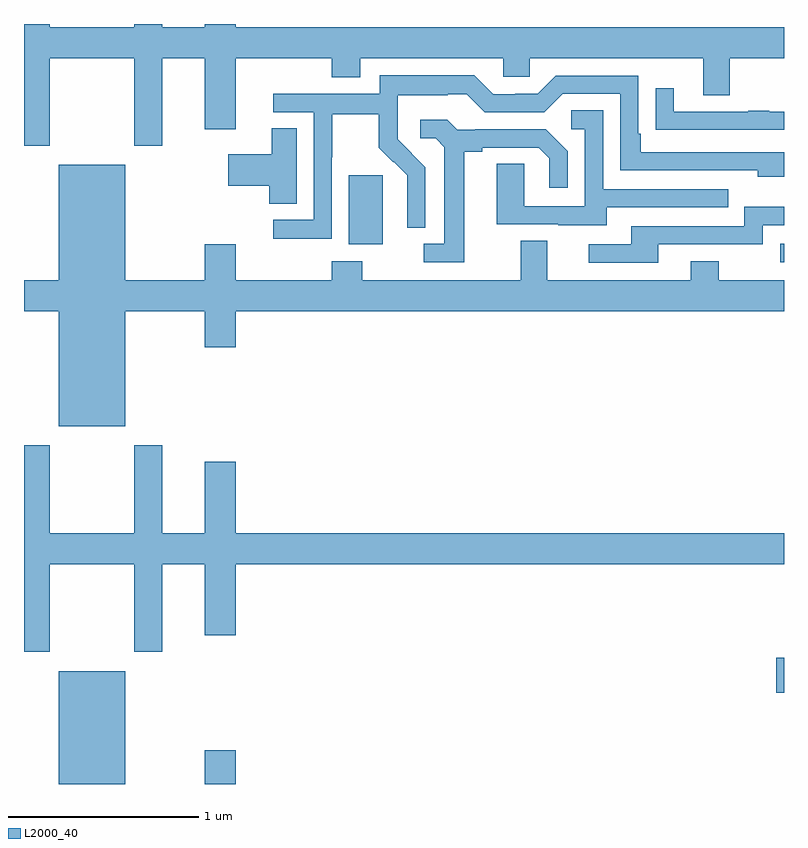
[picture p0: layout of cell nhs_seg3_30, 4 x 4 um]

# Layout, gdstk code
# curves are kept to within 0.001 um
import gdstk
lib = gdstk.Library(unit=1e-6, precision=1e-09)
def R(c, l, rs):  # rectangles x0, y0, x1, y1
    for r in rs: c.add(gdstk.rectangle(r[:2], r[2:], *l))
def P(c, l, *ps):  # polygons
    for p in ps: c.add(gdstk.Polygon(p, *l))
L2000_40 = (2000, 40)

nhs_seg3_30 = lib.new_cell('nhs_seg3_30')
R(nhs_seg3_30, L2000_40, [(111.182,726.4,111.532,726.994), (111.95,726.4,112.114,726.577), (114.96,726.881,115,727.064), (114.981,729.147,115,729.243), (112.709,729.242,112.888,729.603)])
P(nhs_seg3_30, L2000_40, [(111.135,730.22),(111.58,730.22),(111.58,729.759),(111.727,729.759),(111.727,730.22),(111.95,730.22),(111.95,729.846),(112.114,729.846),(112.114,730.22),(112.619,730.22),(112.619,730.121),(112.771,730.121),(112.771,730.22),(113.523,730.22),(113.523,730.122),(113.661,730.122),(113.661,730.22),(114.575,730.22),(114.575,730.026),(114.715,730.026),(114.715,730.22),(115,730.22),(115,730.384),(112.114,730.384),(112.114,730.4),(111.95,730.4),(111.95,730.384),(111.727,730.384),(111.727,730.4),(111.58,730.4),(111.58,730.384),(111.135,730.384),(111.135,730.4),(111,730.4),(111,729.759),(111.135,729.759)],
  [(112.62,729.7),(112.623,729.7),(112.623,729.924),(112.867,729.924),(112.867,729.749),(112.944,729.672),(112.947,729.675),(113.018,729.605),(113.018,729.482),(113.016,729.482),(113.016,729.328),(113.112,729.328),(113.112,729.646),(112.966,729.794),(112.966,729.891),(112.968,729.891),(112.968,730.025),(113.231,730.025),(113.231,730.029),(113.331,730.029),(113.424,729.936),(113.739,729.936),(113.835,730.032),(114.138,730.032),(114.138,729.63),(114.863,729.63),(114.863,729.596),(115,729.596),(115,729.726),(114.247,729.726),(114.247,729.823),(114.234,729.823),(114.234,730.128),(113.799,730.128),(113.703,730.032),(113.585,730.032),(113.585,730.029),(113.469,730.029),(113.369,730.129),(112.872,730.129),(112.872,730.032),(112.311,730.032),(112.311,729.936),(112.524,729.936),(112.524,729.369),(112.311,729.369),(112.311,729.271),(112.62,729.271)],
  [(115,729.939),(114.923,729.939),(114.923,729.944),(114.811,729.944),(114.811,729.939),(114.421,729.939),(114.421,730.063),(114.325,730.063),(114.325,729.844),(114.427,729.844),(114.427,729.843),(115,729.843)],
  [(114.067,729.435),(114.707,729.435),(114.707,729.531),(114.048,729.531),(114.048,729.947),(113.88,729.947),(113.88,729.846),(113.952,729.846),(113.952,729.441),(113.634,729.441),(113.634,729.665),(113.489,729.665),(113.489,729.345),(113.813,729.345),(113.813,729.341),(114.067,729.341)],
  [(113.317,729.728),(113.413,729.728),(113.413,729.75),(113.708,729.75),(113.765,729.693),(113.765,729.537),(113.862,729.537),(113.862,729.73),(113.746,729.846),(113.374,729.846),(113.374,729.843),(113.28,729.843),(113.228,729.895),(113.085,729.895),(113.085,729.798),(113.166,729.798),(113.213,729.751),(113.213,729.243),(113.103,729.243),(113.103,729.147),(113.317,729.147)],
  [(112.435,729.851),(112.304,729.851),(112.304,729.715),(112.074,729.715),(112.074,729.55),(112.292,729.55),(112.292,729.454),(112.435,729.454)],
  [(111.532,728.888),(111.95,728.888),(111.95,728.7),(112.114,728.7),(112.114,728.888),(115,728.888),(115,729.052),(114.657,729.052),(114.657,729.151),(114.509,729.151),(114.509,729.052),(113.755,729.052),(113.755,729.26),(113.615,729.26),(113.615,729.052),(112.779,729.052),(112.779,729.151),(112.619,729.151),(112.619,729.052),(112.114,729.052),(112.114,729.241),(111.95,729.241),(111.95,729.052),(111.532,729.052),(111.532,729.658),(111.182,729.658),(111.182,729.052),(111,729.052),(111,728.888),(111.182,728.888),(111.182,728.282),(111.532,728.282)],
  [(114.337,729.24),(114.888,729.24),(114.888,729.342),(115,729.342),(115,729.439),(114.792,729.439),(114.792,729.336),(114.197,729.336),(114.197,729.24),(113.973,729.24),(113.973,729.144),(114.337,729.144)],
  [(111.135,727.556),(111.58,727.556),(111.58,727.095),(111.727,727.095),(111.727,727.556),(111.95,727.556),(111.95,727.182),(112.114,727.182),(112.114,727.556),(115,727.556),(115,727.72),(112.114,727.72),(112.114,728.095),(111.95,728.095),(111.95,727.72),(111.727,727.72),(111.727,728.182),(111.58,728.182),(111.58,727.72),(111.135,727.72),(111.135,728.182),(111,728.182),(111,727.095),(111.135,727.095)])

lib.write_gds('nhs_seg3_30.gds')
